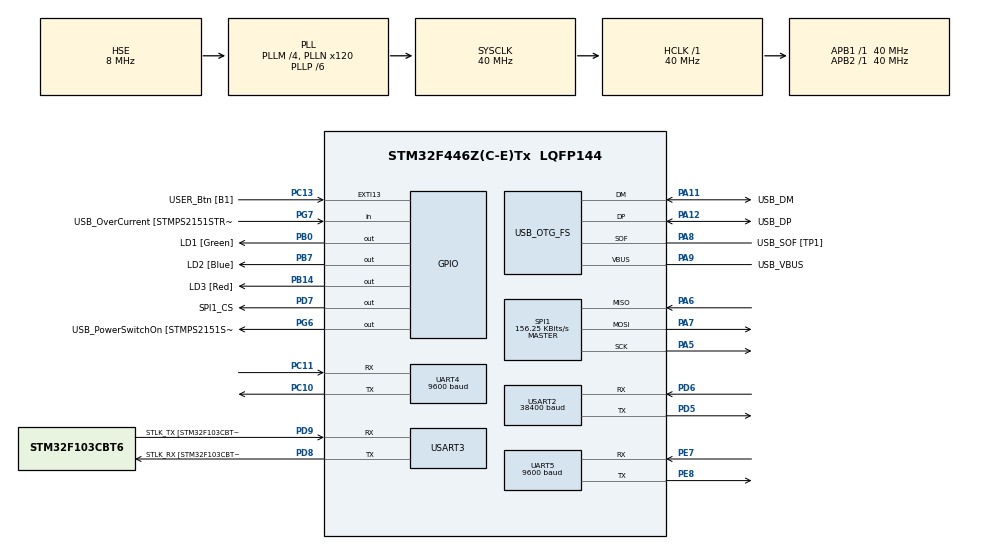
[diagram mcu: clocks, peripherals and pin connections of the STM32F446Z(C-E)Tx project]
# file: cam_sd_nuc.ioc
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FATFS._USE_LFN=1
Mcu.Family=STM32F4
Mcu.Name=STM32F446Z(C-E)Tx
Mcu.Package=LQFP144
NVIC.PriorityGroup=NVIC_PRIORITYGROUP_4
PA10.GPIO_Label=USB_ID
PA10.Signal=USB_OTG_FS_ID
PA11.GPIO_Label=USB_DM
PA11.Mode=Device_Only
PA11.Signal=USB_OTG_FS_DM
PA12.GPIO_Label=USB_DP
PA12.Mode=Device_Only
PA12.Signal=USB_OTG_FS_DP
PA13.GPIO_Label=TMS
PA13.Mode=Serial_Wire
PA13.Signal=SYS_JTMS-SWDIO
PA14.GPIO_Label=TCK
PA14.Mode=Serial_Wire
PA14.Signal=SYS_JTCK-SWCLK
PA5.Mode=Full_Duplex_Master
PA5.Signal=SPI1_SCK
PA6.Mode=Full_Duplex_Master
PA6.Signal=SPI1_MISO
PA7.Mode=Full_Duplex_Master
PA7.Signal=SPI1_MOSI
PA8.GPIO_Label=USB_SOF [TP1]
PA8.Mode=Activate_SOF_FS
PA8.Signal=USB_OTG_FS_SOF
PA9.GPIO_Label=USB_VBUS
PA9.Mode=Activate_VBUS
PA9.Signal=USB_OTG_FS_VBUS
PB0.GPIO_Label=LD1 [Green]
PB0.Signal=GPIO_Output
PB14.GPIO_Label=LD3 [Red]
PB14.Signal=GPIO_Output
PB7.GPIO_Label=LD2 [Blue]
PB7.Signal=GPIO_Output
PC10.Mode=Asynchronous
PC10.Signal=UART4_TX
PC11.Mode=Asynchronous
PC11.Signal=UART4_RX
PC13.GPIO_Label=USER_Btn [B1]
PC13.Signal=GPXTI13
PC14-OSC32_IN.Mode=LSE-External-Oscillator
PC14-OSC32_IN.Signal=RCC_OSC32_IN
PC15-OSC32_OUT.Mode=LSE-External-Oscillator
PC15-OSC32_OUT.Signal=RCC_OSC32_OUT
PD5.Mode=Asynchronous
PD5.Signal=USART2_TX
PD6.Mode=Asynchronous
PD6.Signal=USART2_RX
PD7.GPIO_Label=SPI1_CS
PD7.Signal=GPIO_Output
PD8.GPIO_Label=STLK_RX [STM32F103CBT6_PA3]
PD8.Mode=Asynchronous
PD8.Signal=USART3_TX
PD9.GPIO_Label=STLK_TX [STM32F103CBT6_PA2]
PD9.Mode=Asynchronous
PD9.Signal=USART3_RX
PE7.Mode=Asynchronous
PE7.Signal=UART5_RX
PE8.Mode=Asynchronous
PE8.Signal=UART5_TX
PG6.GPIO_Label=USB_PowerSwitchOn [STMPS2151STR_EN]
PG6.Signal=GPIO_Output
PG7.GPIO_Label=USB_OverCurrent [STMPS2151STR_FAULT]
PG7.Signal=GPIO_Input
PH0-OSC_IN.GPIO_Label=MCO [STM32F103CBT6_PA8]
PH0-OSC_IN.Mode=HSE-External-Clock-Source
PH0-OSC_IN.Signal=RCC_OSC_IN
PH1-OSC_OUT.Mode=HSE-External-Clock-Source
PH1-OSC_OUT.Signal=RCC_OSC_OUT
ProjectManager.HeapSize=0x200
ProjectManager.StackSize=0x400
ProjectManager.TargetToolchain=STM32CubeIDE
RCC.48MHZClocksFreq_Value=24000000
RCC.AHBFreq_Value=40000000
RCC.APB1Freq_Value=40000000
RCC.APB1TimFreq_Value=40000000
RCC.APB2Freq_Value=40000000
RCC.APB2TimFreq_Value=40000000
RCC.CortexFreq_Value=40000000
RCC.HCLKFreq_Value=40000000
RCC.HSE_VALUE=8000000
RCC.HSI_VALUE=16000000
RCC.PLLM=4
RCC.PLLMUL=RCC_PLL_MUL9
RCC.PLLN=120
RCC.PLLP=RCC_PLLP_DIV6
RCC.PLLQ=5
RCC.PRESCALERUSB=RCC_USBCLKSOURCE_PLL_DIV1_5
RCC.SYSCLKFreq_VALUE=40000000
RCC.SYSCLKSource=RCC_SYSCLKSOURCE_PLLCLK
RCC.SYSCLKSourceVirtual=RCC_SYSCLKSOURCE_PLLCLK
RCC.USBFreq_Value=48000000
RCC.VCOOutputFreq_Value=240000000
SPI1.BaudRatePrescaler=SPI_BAUDRATEPRESCALER_256
SPI1.CalculateBaudRate=156.25 KBits/s
SPI1.Direction=SPI_DIRECTION_2LINES
SPI1.Mode=SPI_MODE_MASTER
SPI1.VirtualType=VM_MASTER
UART4.BaudRate=9600
UART4.VirtualMode=Asynchronous
UART5.BaudRate=9600
UART5.VirtualMode=Asynchronous
USART2.BaudRate=38400
USART2.VirtualMode=VM_ASYNC
USART3.VirtualMode=VM_ASYNC
USB_OTG_FS.VirtualMode=Device_Only
VP_FATFS_VS_Generic.Mode=User_defined
board=NUCLEO-F446ZE

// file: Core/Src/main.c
/* USER CODE BEGIN Header */
/**
  ******************************************************************************
  * @file           : main.c
  * @brief          : Main program body
  ******************************************************************************
  * @attention
  *
  * Copyright (c) 2025 STMicroelectronics.
  * All rights reserved.
  *
  * This software is licensed under terms that can be found in the LICENSE file
  * in the root directory of this software component.
  * If no LICENSE file comes with this software, it is provided AS-IS.
  *
  ******************************************************************************
  */
/* USER CODE END Header */
#include "main.h"
#include "fatfs.h"

/* USER CODE BEGIN Includes */

#include "vc0706_hal.h"
#include <stdio.h>
#include <string.h>
#include <stdarg.h>
#include <stdbool.h>
#include <stdint.h>

/* USER CODE END Includes */

/* USER CODE BEGIN PD */

#define VC0706_READ_CHUNK 64

#define LINK_UART_HANDLE  huart5          // <--- change to your UART handle (huart3, huart7, etc.)
#define SEND_FILENAME     "im_pru.JPG"

/* ------------------------ */

#define CHUNK          256u              // multiple of 512 recommended
#define SOF0           0x55
#define SOF1           0xAA
#define ACK            0x06
#define NAK            0x15
#define UART_TMO_MS    2500
#define MAX_RETRY      8

#define UART_TX_TMO_MS  2500

static vc0706_t cam;
extern UART_HandleTypeDef LINK_UART_HANDLE;

void myprintf(const char *fmt, ...);
static int generar_nombre_unico(char *out, size_t out_sz,char *out2);
char filename[40] = {};

char filename_enviar[40] = {};

uint8_t cab6;

/* USER CODE END PD */

SPI_HandleTypeDef hspi1;

UART_HandleTypeDef huart4;
UART_HandleTypeDef huart5;
UART_HandleTypeDef huart2;
UART_HandleTypeDef huart3;

PCD_HandleTypeDef hpcd_USB_OTG_FS;

/* USER CODE BEGIN PV */

static inline void uart_flush_rx_polling(UART_HandleTypeDef *huart)
{
    uint8_t dump;
    while (HAL_UART_Receive(huart, &dump, 1, 0) == HAL_OK) {
        /* discard */
    }
    /* If an overrun happened, clear it so RX keeps working */
    __HAL_UART_CLEAR_OREFLAG(huart);
}

int camera_init(void) {
    myprintf("\r\ninicializando camara...\r\n");

    // Bind to USART2 at 38400 (will HAL_UART_Init with that baud if needed)
    if (!vc0706_begin(&cam, &huart2, 38400)) {
        myprintf("no se detecto la camara o error de comunicacion\r\n");
        return -1;
    }

    // Version probe (good connectivity test)
    char *ver = vc0706_get_version(&cam);
    if (!ver) {
        myprintf("get_version fallo\r\n");
        return -2;
    }
    // The buffer is NUL-terminated; print a trimmed line
    myprintf("version: %s\r\n", ver);

    // Set resolution 640x480 (same as cam.setImageSize(VC0706_640x480))
    if (!vc0706_set_image_size(&cam, VC0706_640x480)) {
        myprintf("no se pudo fijar resolucion 640x480\r\n");
        return -3;
    }
    // Read back to confirm
    uint8_t sz = vc0706_get_image_size(&cam);
    if (sz != VC0706_640x480) {
        myprintf("aviso: resolucion leida = 0x%02X (esperado 0x00)\r\n", sz);
    } else {
        myprintf("resolucion establecida a 640x480\r\n");
    }

    // (Opcional) ajustar compresion JPEG: 0x00 (max calidad) .. 0xFF (max compresion)
    // (void)vc0706_set_compression(&cam, 0x36);

    myprintf("camara lista\r\n");
    return 0;
}

void myprintf(const char *fmt, ...) {
  static char buffer[256];
  va_list args;
  va_start(args, fmt);
  vsnprintf(buffer, sizeof(buffer), fmt, args);
  va_end(args);

  int len = strlen(buffer);
  HAL_UART_Transmit(&huart4, (uint8_t*)buffer, len, -1);

}

/* ===== CRC16-CCITT (poly 0x1021, init 0xFFFF) ===== */
static uint16_t crc16_ccitt(const uint8_t *data, uint32_t len)
{
    uint16_t crc = 0xFFFF;
    for (uint32_t i = 0; i < len; i++) {
        crc ^= ((uint16_t)data[i]) << 8;
        for (uint8_t b = 0; b < 8; b++) {
            crc = (crc & 0x8000) ? (uint16_t)((crc << 1) ^ 0x1021) : (uint16_t)(crc << 1);
        }
    }
    return crc;
}

/* ===== UART helpers (blocking) ===== */
static int uart_send(const void *p, uint16_t n)
{
    return (HAL_UART_Transmit(&LINK_UART_HANDLE, (uint8_t*)p, n, UART_TX_TMO_MS) == HAL_OK) ? 0 : -1;
}
static int uart_recv(void *p, uint16_t n, uint32_t tmo)
{
    return (HAL_UART_Receive(&LINK_UART_HANDLE, (uint8_t*)p, n, tmo) == HAL_OK) ? 0 : -1;
}

/* ===== Protocol: header + framed data ===== */
static int send_header(uint32_t fsz)
{
    uint8_t hdr[6] = { 'S','Z', (uint8_t)(fsz), (uint8_t)(fsz>>8), (uint8_t)(fsz>>16), (uint8_t)(fsz>>24) };

    if (uart_send(hdr, sizeof(hdr)) != 0) return -1;
    myprintf("[TX] uart_send end\r\n");

    //PRINTEO ENVIO
    HAL_UART_Transmit(&huart3,hdr,sizeof(hdr),200);
    //HAL_Delay(500);

    uint8_t ack = 0;
    if (uart_recv(&ack, 1, UART_TMO_MS) != 0) return -2;
    //myprintf("uart ack = %d \r\n; ");
    myprintf("[TX] header_ok\r\n");
    myprintf("El ACK es 0x%02X\r\n", (unsigned)ack);   // Hex con cero a la izquierda
    return (ack == ACK) ? 0 : -3;
}

static int send_frame(uint16_t seq, const uint8_t *data, uint16_t len)
{
	//myprintf("Enviando x4 \r\n");
	HAL_Delay(100);
    static uint8_t tx[CHUNK + 8]; // SOF(2) + seq(2) + len(2) + payload + crc(2)
    tx[0] = SOF0; tx[1] = SOF1;
    tx[2] = (uint8_t)(seq); tx[3] = (uint8_t)(seq >> 8);
    tx[4] = (uint8_t)(len); tx[5] = (uint8_t)(len >> 8);
    memcpy(&tx[6], data, len);
    uint16_t crc = crc16_ccitt(data, len);
    tx[6 + len]     = (uint8_t)(crc);
    tx[6 + len + 1] = (uint8_t)(crc >> 8);

    for (int attempt = 0; attempt < MAX_RETRY; attempt++) {
        if (uart_send(tx, (uint16_t)(len + 8)) != 0) return -10;

        //PRINTEO ENVIO
        HAL_UART_Transmit(&huart3,tx,sizeof(tx),200);
        //HAL_Delay(500);

        uint8_t dump;
        while (HAL_UART_Receive(&LINK_UART_HANDLE, &dump, 1, 0) == HAL_OK) {
            /* discard */
        }

        uint8_t resp[3];
        if (uart_recv(resp, 3, UART_TMO_MS) == 0 && resp[0] == ACK) {
            uint16_t seq_echo = (uint16_t)resp[1] | ((uint16_t)resp[2] << 8);
            if (seq_echo == seq) return 0;
        }
        // retry on timeout or NAK
    }
    return -11;
}

/* ===== Public API: send a file ===== */
int send_file_over_uart(const char *path)
{
    FRESULT fr;
    FATFS fs;
    FIL   f;
    UINT  br;
    static uint8_t buf[CHUNK];

    // Ensure FatFs is wired to SPI SD in your project
    MX_FATFS_Init();
    fr = f_mount(&fs, "", 1);
    if (fr != FR_OK) return -100;

    fr = f_open(&f, path, FA_READ | FA_OPEN_EXISTING);
    if (fr != FR_OK) { f_mount(NULL, "", 0); return -101; }

    uint32_t fsz = (uint32_t)f_size(&f);
    //myprintf("[TX] uart_send(len=%u) begin\r\n", (unsigned)(br + 8));
    if (send_header(fsz) != 0) { f_close(&f); f_mount(NULL, "", 0); return -102; }

    uint16_t seq = 0;
    uint32_t sent = 0;
    myprintf("Enviando x2 \r\n");

    while (sent < fsz) {
    	//myprintf("Enviando x3 \r\n");
    	HAL_Delay(100);

        UINT need = (fsz - sent > CHUNK) ? CHUNK : (UINT)(fsz - sent);
        fr = f_read(&f, buf, need, &br);
        //myprintf("[TX] f_read fr=%d br=%u need=%u\r\n", (int)fr, (unsigned)br, (unsigned)need);
        //if (fr != FR_OK || br == 0) { myprintf("[TX] f_read_fail\r\n"); return -105; }
        if (fr != FR_OK) { f_close(&f); f_mount(NULL, "", 0); return -103; }
        if (br == 0) break;

        //myprintf("[TX] send_frame seq=%u len=%u\r\n", (unsigned)seq, (unsigned)br);
        if (send_frame(seq, buf, (uint16_t)br) != 0) { f_close(&f); f_mount(NULL, "", 0); return -104; }
        sent += br;
        seq++;
    }

    f_close(&f);
    f_mount(NULL, "", 0);
    return 0;
}

/* ===== Button-driven send (polling) =====
 * Requires USER button as input (e.g., Nucleo B1 on PC13).
 */
static volatile bool g_sending  = false;
static bool btn_prev = true; // idle-high on many Nucleo boards

static bool button_pressed_edge(void)
{
    bool now = (HAL_GPIO_ReadPin(USER_Btn_GPIO_Port, USER_Btn_Pin) == GPIO_PIN_RESET);
    bool pressed = (btn_prev && !now); // high -> low
    btn_prev = now;
    return pressed;
}

/* ================== END F446ZE SENDER ================== */

/* fixed date like your sketch; swap for RTC later */
static void fecha_yyyymmdd(char *dst) { strcpy(dst, "20250101"); }

/* IMG_YYYYMMDD_NNNNNN.JPG with FatFS existence check */
/*
static int generar_nombre_unico(char *out, size_t out_sz) {
    if (!out || out_sz < 32) return -1;
    char ymd[9]; fecha_yyyymmdd(ymd);
    FILINFO fno;
    for (unsigned i = 0; i < 1000000U; i++) {
        int n = snprintf(out, out_sz, "IMG_%s_%06u.JPG", ymd, i);
        if (n <= 0 || (size_t)n >= out_sz) return -2;
        FRESULT fr = f_stat(out, &fno);
        if (fr == FR_NO_FILE) return 0;      // available
        if (fr != FR_OK && fr != FR_EXIST) return -3;
    }
    return -4;
}
*/

static int generar_nombre_unico(char *out, size_t out_sz,char *out2) {
    if (!out || out_sz < 32) return -1;
    char ymd[9]; fecha_yyyymmdd(ymd);
    FATFS fs; FIL file; FRESULT fr; UINT bw;
    //myprintf("inicializacion\r\n");
    MX_FATFS_Init();
    fr = f_mount(&fs, "", 1);
    if (fr != FR_OK) { return -100; }
    FILINFO fno;
    for (unsigned i = 0; i < 1000000U; i++) {
        int n = snprintf(out, out_sz, "IMG_%s_%06u.JPG", ymd, i);
        //myprintf("n es %s ...\r\n", out);
        if (n <= 0 || (size_t)n >= out_sz) return -2;
        //myprintf("primer if \r\n");
        FRESULT fr = f_stat(out, &fno);
        //myprintf("fr es %d ...\r\n", fr);
        //myprintf("n es %s ... x2\r\n", out);
        //myprintf("nuevo es %s ... \r\n", out2);
        if (fr == FR_NO_FILE){
        	memcpy(out2, out,out_sz);
        	//myprintf("nuevo es %s ... \r\n", out2);
        	//myprintf("TODO BIEN ... \r\n");
        	memset(out, 0, out_sz);
        	return 0;
        }
        //myprintf("segundo if \r\n");// available
        if (fr != FR_OK && fr != FR_EXIST) return -3;
        //myprintf("tercero if \r\n");

    }
    return -4;
}

/*
int capturar_imagen_a_sd_manual(vc0706_t *cam) {
    if (!cam) return -1;

    FATFS fs; FIL file; FRESULT fr; UINT bw;

    MX_FATFS_Init();
    fr = f_mount(&fs, "", 1);
    if (fr != FR_OK) { myprintf("f_mount=%d\r\n", fr); return -100; }

    if (!vc0706_take_picture(cam)) {
        myprintf("take_picture FAIL\r\n");
        f_mount(NULL, "", 0);
        return -200;
    }

    uint32_t jpglen = vc0706_frame_length(cam);
    if (jpglen == 0) {
        myprintf("frame_length=0\r\n");
        (void)vc0706_resume_video(cam);
        f_mount(NULL, "", 0);
        return -201;
    }
    myprintf("size=%lu bytes\r\n", (unsigned long)jpglen);

    //char filename[40];
    int rc = generar_nombre_unico(filename, sizeof(filename));
    if (rc != 0) {
        myprintf("name err=%d\r\n", rc);
        (void)vc0706_resume_video(cam);
        f_mount(NULL, "", 0);
        return -202;
    }

    fr = f_open(&file, filename, FA_WRITE | FA_CREATE_NEW);
    if (fr != FR_OK) {
        myprintf("f_open=%d\r\n", fr);
        (void)vc0706_resume_video(cam);
        f_mount(NULL, "", 0);
        return -203;
    }
    myprintf("writing %s ...\r\n", filename);

    uint32_t written = 0;
    int payload_offset = -1; // will be 0 or 5 after first chunk

    while (written < jpglen) {
        uint32_t remain = jpglen - written;
        uint8_t n = (remain < VC0706_READ_CHUNK ) ? (uint8_t)remain : (uint8_t)VC0706_READ_CHUNK ;
        if (n > 240) n = 240;  // safety: VC0706 count is uint8_t

        uint8_t *buf = vc0706_read_picture(cam, n, 500);   // returns [5-byte header] + n data

        if (!buf) {
            myprintf("read_picture timeout/null\r\n");
            f_close(&file);
            (void)vc0706_resume_video(cam);
            f_mount(NULL, "", 0);
            return -204;
        }
        if (payload_offset < 0) {
            if (buf[0] == 0xFF && buf[1] == 0xD8) {
                // Looks like JPEG SOI at start => payload already at buf
                payload_offset = 0;
            } else if (buf[0] == 0x76 && buf[2] == 0x32) {
                // 0x76, serial, 0x32 (= READ_FBUF reply) => header present
                payload_offset = 5;
            } else {
                // fallback: if looks like header length >= 5, assume 5; else assume 0
                payload_offset = 5;
            }
        }

        fr = f_write(&file, buf + payload_offset, n, &bw);
        if (fr != FR_OK || bw != n) {
            myprintf("f_write err=%d bw=%u n=%u\r\n", fr, (unsigned)bw, (unsigned)n);
            f_close(&file);
            (void)vc0706_resume_video(cam);
            f_mount(NULL, "", 0);
            return -205;
        }

        written += n;
        if ((written % (10*1024)) < VC0706_READ_CHUNK ) myprintf(".");
    }
    myprintf("\r\n");

    f_sync(&file);
    f_close(&file);
    (void)vc0706_resume_video(cam);
    f_mount(NULL, "", 0);

    myprintf("done: %s (%lu bytes)\r\n", filename, (unsigned long)written);
    return 0;
}
*/

int capturar_imagen_a_sd_manual_filename(vc0706_t *cam,const char *filename) {
    if (!cam) return -1;

    FATFS fs; FIL file; FRESULT fr; UINT bw;
    //myprintf("imagen sd filename\r\n");
    MX_FATFS_Init();
    fr = f_mount(&fs, "", 1);
    if (fr != FR_OK) { return -100; }

    if (!vc0706_take_picture(cam)) {
        //myprintf("take_picture FAIL\r\n");
        f_mount(NULL, "", 0);
        return -200;
    }

    uint32_t jpglen = vc0706_frame_length(cam);
    if (jpglen == 0) {
        //myprintf("frame_length=0\r\n");
        (void)vc0706_resume_video(cam);
        f_mount(NULL, "", 0);
        return -201;
    }
    //myprintf("size=%lu bytes\r\n", (unsigned long)jpglen);

// FILENAME CHAR FILENAME
    /*
    int rc = generar_nombre_unico(filename, sizeof(filename));
    if (rc != 0) {
        //myprintf("name err=%d\r\n", rc);
        (void)vc0706_resume_video(cam);
        f_mount(NULL, "", 0);
        return -202;
    }
    */

    fr = f_open(&file, filename, FA_WRITE | FA_CREATE_NEW);
    if (fr != FR_OK) {
        //myprintf("f_open=%d\r\n", fr);
        (void)vc0706_resume_video(cam);
        f_mount(NULL, "", 0);
        return -203;
    }
    //myprintf("writing %s ...\r\n", filename);

    uint32_t written = 0;
    int payload_offset = -1; // will be 0 or 5 after first chunk

    while (written < jpglen) {
    	//HAL_GPIO_TogglePin(WDG_GPIO_Port, WDG_Pin);
        uint32_t remain = jpglen - written;
        uint8_t n = (remain < VC0706_READ_CHUNK ) ? (uint8_t)remain : (uint8_t)VC0706_READ_CHUNK ;
        if (n > 240) n = 240;  // safety: VC0706 count is uint8_t

        uint8_t *buf = vc0706_read_picture(cam, n, 500);   // returns [5-byte header] + n data

        if (!buf) {
            //myprintf("read_picture timeout/null\r\n");
            f_close(&file);
            (void)vc0706_resume_video(cam);
            f_mount(NULL, "", 0);
            return -204;
        }
        if (payload_offset < 0) {
            if (buf[0] == 0xFF && buf[1] == 0xD8) {
                // Looks like JPEG SOI at start => payload already at buf
                payload_offset = 0;
            } else if (buf[0] == 0x76 && buf[2] == 0x32) {
                // 0x76, serial, 0x32 (= READ_FBUF reply) => header present
                payload_offset = 5;
            } else {
                // fallback: if looks like header length >= 5, assume 5; else assume 0
                payload_offset = 5;
            }
        }

        /* write ONLY JPEG payload; skip 5-byte VC0706 header */
        fr = f_write(&file, buf + payload_offset, n, &bw);
        if (fr != FR_OK || bw != n) {
            //myprintf("f_write err=%d bw=%u n=%u\r\n", fr, (unsigned)bw, (unsigned)n);
            f_close(&file);
            (void)vc0706_resume_video(cam);
            f_mount(NULL, "", 0);
            return -205;
        }

        written += n;
        //if ((written % (10*1024)) < VC0706_READ_CHUNK ) myprintf(".");
    }
    //myprintf("\r\n");

    f_sync(&file);
    f_close(&file);
    //myprintf("termine\r\n");
    (void)vc0706_resume_video(cam);
    f_mount(NULL, "", 0);

    //myprintf("done: %s (%lu bytes)\r\n", filename, (unsigned long)written);
    return 0;
}
/*

void user_loop_sender_sd(void)
{
    if (!g_sending && button_pressed_edge()) {
    	myprintf("Enviando \r\n");
        g_sending = true;
        (void)send_file_over_uart(SEND_FILENAME);
        g_sending = false;
    }
}
*/

/*

void user_loop_sender_uart(int status,bool status16, bool status32)
{
    //if (!g_sending && button_pressed_edge()) {
    if (status==1 && status16==true && status32==true) {
    	myprintf("Enviando \r\n");
        g_sending = true;
        (void)send_file_over_uart(SEND_FILENAME);
        g_sending = false;
    }else{
    	myprintf("Comando mal recibido \n");
    }
}
*/
/*

void user_loop_sender_cam_sd(void)
{
    if (!g_sending && button_pressed_edge()) {
        g_sending = true;

        char filename[40];
        if (generar_nombre_unico(filename, sizeof(filename)) != 0) {
            myprintf("name gen failed\r\n");
            g_sending = false;
            return;
        }

        myprintf("Capturando y guardando: %s\r\n", filename);
        int rc = capturar_imagen_a_sd_manual(&cam);
        if (rc != 0) {
            myprintf("capture/save failed rc=%d\r\n", rc);
            g_sending = false;
            return;
        }

        myprintf("Enviando por UART: %s\r\n", filename);

        HAL_Delay(500);
        (void)send_file_over_uart(filename);
        g_sending = false;

    }
}
*/

void envia_defrente(void)
{

	//HAL_GPIO_TogglePin(WDG_GPIO_Port, WDG_Pin);

	//myprintf("El filename antes de es %s ... \r\n", filename);
	//myprintf("estoy envia defrente\r\n");
	if (generar_nombre_unico(filename, sizeof(filename), filename_enviar) != 0) {
		//myprintf("name gen failed\r\n");
		return;
	}
	//myprintf("Lo que entra es %s ... \r\n", filename_enviar);
	//myprintf("El filename es %s ... \r\n", filename);
	//myprintf("Capturando y guardando: %s\r\n", filename);
	//capturar_imagen_a_sd_manual_filename
	int rc = capturar_imagen_a_sd_manual_filename(&cam, filename_enviar);
	if (rc != 0) {
		//myprintf("capture/save failed rc=%d\r\n", rc);
		return;
	}

	//HAL_Delay(2000);
	//(void)send_file_over_uart(filename);

}

/* **************************************** Programacion de comandos ********************************************/

/************************************************
 Declaracion de cabeceras, payload y variables
 ************************************************/

uint8_t TA=0x05; /*TA=TargetAddress*/
uint8_t SA=0x88; /*SA=SourceAddress*/

/*PPID=PayloadProtocolID
(Define las funciones
 Toma de foto camara 1: id=0x01
 Toma de foto camara 2: id=0x02)*/
uint8_t PPID;

/*PS=PayloadSize (Tamaño del payload)
 PayloadComando= 1-2bytes
 PayloadData= 1-255bytes*/
uint8_t PS;

/*Payload*/
uint8_t payload_total[255];
uint8_t payload_envio[]={};

/*CRC32*/
uint32_t CRC32;

/*Variable*/
uint8_t count;
uint8_t val;

/**************************************
 * Generacion PS (payload size)
 ***************************************/

uint8_t countPay(uint8_t* payload_envio){
	/*Define la cantidad de bytes (size) del payload*/
	  for (int i=0; i<255; i++){
		  val = payload_envio[i] & 0b11111111;
		  if (val != 0x00){
			  count=count+1;
		  }
	  }

	  /*cumple con darnos la cantidad de bytes(size) del payload*/
	  PS=count;
	  return PS;
}

/****************************************
 * Funciones generan CRC16 y CRC32
 ***************************************/

bool gener_crc16(uint8_t *cabecera,uint8_t size_cabecera,uint8_t *cab){

		    uint16_t G_X = 0x1021; // Polynomial generator
		    uint16_t CRC16 = 0xFFFF;
		    uint8_t InvArreglo[4] = {};
		    uint8_t Temp;
		    uint8_t InvBits[4] ={}; //Arreglo de bits invertidos de la cabecera  (LSB first)
		    uint8_t Fin=0x00;

		    //Se invierten los elementos del array
		    for(int i=0; i<size_cabecera; i++){
		    	InvArreglo[i]=cabecera[size_cabecera-i-1];
		    }

		    //Se invierten los bits de los elementos del array
		    for(int j=0; j<size_cabecera;j++){
		    	for(int i=0; i<8; i++){
		    		Temp=InvArreglo[j]&(0x80);
		    		//InvBits[0]=InvArreglo[1];
		    		//HAL_UART_Transmit(&huart2,InvBits,sizeof(InvBits),100);// Sending in normal mode
		    		//HAL_Delay(1000);
		    		if(Temp!=0x00){
		    			Fin=(Fin>>1);
		    			Fin=Fin|(0x80);
		    			InvArreglo[j]=(InvArreglo[j]<<1);
		    			// InvBits[0]=Fin;
		    			// HAL_UART_Transmit(&huart2,InvBits,sizeof(InvBits),100);// Sending in normal mode
		    			// HAL_Delay(1000);
		    		}else{
		    			Fin=(Fin>>1);
		    			InvArreglo[j]=(InvArreglo[j]<<1);
		    			//InvBits[0]=InvArreglo[0];
		    			//HAL_UART_Transmit(&huart2,InvBits,sizeof(InvBits),100);// Sending in normal mode
		    			//HAL_Delay(1000);
		    		}
		    	}
		    	InvBits[j]=Fin;
		    	Fin=0x00;
		    }

		    //Algoritmo para la generación del CRC16 de la cabecera invertida
		    for(int i=0; i<sizeof(InvBits)/sizeof(InvBits[0]); i++){
		    	  CRC16 ^= (uint16_t)(InvBits[i]<<8);

		    	  for (int i=0; i<8; i++){
		    		  if ((CRC16 & 0x8000) != 0){
		    			  CRC16 = (uint16_t)((CRC16 <<1)^G_X);
		    		  }else{
		    			  CRC16 <<=1;
		    		  }
		    	  }
		    }

		    // El CRC16 de 0x8805 = 0xC294
		    // El CRC16 de 0x88050101 = 0x901B
		    // El CRC16 de 0x8080A011 (0x88050101 invertido) = 0x7DCC
		    uint8_t CRC16_0 = (uint8_t)(CRC16 & 0x00FF);
		    uint8_t CRC16_1 = (uint8_t)((CRC16 >> 8)& 0x00FF);

		    bool status_crc16;
		    if(CRC16_0==cab[4] && CRC16_1==cab[5]){
		  	  status_crc16= true;
		  	  myprintf("El CRC16 se recibio correctamente ... \n");
		  	  myprintf("%02X %02X\n",cab[4],cab[5]);
		  	  return status_crc16;
		    }else{
		  	  status_crc16= false;
		  	  myprintf("El CRC16 no esta correcto ... \n");
		  	  myprintf("%02X %02X\n",cab[4],cab[5]);
		  	  return status_crc16;
		    }
}

bool gener_crc32(uint8_t *payload_cabecera,uint8_t size_cabecera,uint8_t *cab){

			//Algoritmo para la generación del CRC32 de la cabecera invertida
		    uint32_t G_Y = 0x04C11DB7; // Polynomial generator
		    uint32_t CRC32 = 0xFFFFFFFF;
		    uint8_t InvArreglo2[7] = {};
		    uint8_t Temp2;
		    uint8_t Fin2=0x00;
		    uint8_t InvBits2[7] ={};

		    //Se invierten los elementos del array
		    //Frame actual: 0x01 0xCC 0x7D 0x01 0x01 0x05 0x88
		    for(int i=0; i<size_cabecera; i++){
		    	InvArreglo2[i]=payload_cabecera[size_cabecera-i-1];
		    }

		    //Se invierten los bits de los elementos del array
		    //Frame LBS: 0x80 0x33 0xBE 0x80 0x80 0xA0 0x11
		    for(int j=0; j<size_cabecera;j++){
		    	for(int i=0; i<8; i++){
		    		Temp2=InvArreglo2[j]&(0x80);
		    		//InvBits3[0]=InvArreglo2[j];
		    		//HAL_UART_Transmit(&huart2,InvBits3,sizeof(InvBits3),100);// Sending in normal mode
		    		//HAL_Delay(1000);
		    		if(Temp2!=0x00){
		    			Fin2=(Fin2>>1);
		    			Fin2=Fin2|(0x80);
		    			InvArreglo2[j]=(InvArreglo2[j]<<1);
		    			//InvBits3[0]=Fin2;
		    			//HAL_UART_Transmit(&huart2,InvBits3,sizeof(InvBits3),100);// Sending in normal mode
		    			//HAL_Delay(1000);
		    		}else{
		    			Fin2=(Fin2>>1);
		    			InvArreglo2[j]=(InvArreglo2[j]<<1);
		    			//InvBits[0]=InvArreglo[0];
		    			//HAL_UART_Transmit(&huart2,InvBits,sizeof(InvBits),100);// Sending in normal mode
		    			//HAL_Delay(1000);
		    		}
		    	}
		    	InvBits2[j]=Fin2;
		    	Fin2=0x00;
		    }

		    for(int j=0; j<sizeof(InvBits2)/sizeof(InvBits2[0]); j++){
		    	CRC32 ^= (uint32_t)(InvBits2[j]<<24);

		    	  for (int j=0; j<8; j++){
		    		  if ((CRC32 & 0x80000000) != 0){
		    			  CRC32 = (uint32_t)((CRC32 <<1)^G_Y);
		    		  }else{
		    			  CRC32 <<=1;
		    		  }
		    	  }
		    }

		    uint8_t CRC32_byte3 = (uint8_t)((CRC32 >> 24) & 0xFF);//MSB
		    uint8_t CRC32_byte2 = (uint8_t)((CRC32 >> 16) & 0xFF);
		    uint8_t CRC32_byte1 = (uint8_t)((CRC32 >> 8) & 0xFF);
		    uint8_t CRC32_byte0 = (uint8_t)(CRC32 & 0xFF);//LSB

		    bool status_crc32;

		    myprintf(" los crc32 son %02X %02X %02X %02X\n",CRC32_byte0,CRC32_byte1,CRC32_byte2,CRC32_byte3);
		    if(CRC32_byte0==cab[7] && CRC32_byte1==cab[8] && CRC32_byte2==cab[9] && CRC32_byte3==cab[10]){
		  	  status_crc32= true;
		  	  myprintf("El CRC32 se recibio correctamente ... \n");
		  	  myprintf("%02X %02X %02X %02X\n",cab[7],cab[8],cab[9],cab[10]);
		  	  return status_crc32;
		    }else{
		  	  status_crc32= false;
		  	  myprintf("El CRC32 no esta correcto ... \n");
		  	  myprintf("%02X ..\n",cab[7]);
		  	  myprintf("%02X %02X %02X %02X\n",cab[7],cab[8],cab[9],cab[10]);
		  	  return status_crc32;
		    }
}

/*Funcion generadora del CRC16 */
uint16_t gener_crc16_rx (uint8_t TA,uint8_t SA,uint8_t PPID,uint8_t PS){

	 /***************************************************
	  * Definicion de variables y algoritmo para el CRC16
	  * Con inversion de bits
	  * CRC-CCITT-BR (bit reverse): LSB first
	  * CRC16, G(x)=0x1021 (algoritmo)
	  * CRC initial: 0XFFFF
	  * Cabecera inicial: 0x88 0x05 0x01 0x01
	  * Cabecera invertida: 0x80 0x80 0xA0 0x11
	  ***************************************************/
	  uint16_t G_X = 0x1021; // Polynomial generator
	  uint16_t CRC16 = 0xFFFF;
	  uint8_t arreglo[4] = {TA,SA,PPID,PS};//Se aumento PPID,PS
	  uint8_t InvArreglo[4] = {};
	  uint8_t InvBits[4] ={}; //Arreglo de bits invertidos de la cabecera  (LSB first)
	  uint8_t Temp;
	  uint8_t Fin=0x00;
	  uint8_t n = sizeof(arreglo)/sizeof(arreglo[0]);

	  //Se invierten los elementos del array
	  //Cabecera actual: 0x01 0x01 0x05 0x88
	  for(int i=0; i<n; i++){
		  InvArreglo[i]=arreglo[n-i-1];
	  }

	  //InvArreglo[0]=0x35;

	  //Se invierten los bits de los elementos del array
	  //Cabecera LBS: 0x80 0x80 0xA0 0x11
	  for(int j=0; j<n;j++){
		  for(int i=0; i<8; i++){
			  Temp=InvArreglo[j]&(0x80);
			  //InvBits[0]=InvArreglo[1];
			  //HAL_UART_Transmit(&huart2,InvBits,sizeof(InvBits),100);// Sending in normal mode
			  //HAL_Delay(1000);
			  if(Temp!=0x00){
				  Fin=(Fin>>1);
				  Fin=Fin|(0x80);
				  InvArreglo[j]=(InvArreglo[j]<<1);
				  // InvBits[0]=Fin;
				  // HAL_UART_Transmit(&huart2,InvBits,sizeof(InvBits),100);// Sending in normal mode
				  // HAL_Delay(1000);
			  }else{
				  Fin=(Fin>>1);
				  InvArreglo[j]=(InvArreglo[j]<<1);
				  //InvBits[0]=InvArreglo[0];
				  //HAL_UART_Transmit(&huart2,InvBits,sizeof(InvBits),100);// Sending in normal mode
				  //HAL_Delay(1000);
			  }
		  }
		  InvBits[j]=Fin;
		  Fin=0x00;
	  }

	  //Algoritmo para la generación del CRC16 de la cabecera invertida
	  for(int i=0; i<sizeof(InvBits)/sizeof(InvBits[0]); i++){
	  	  CRC16 ^= (uint16_t)(InvBits[i]<<8);

	  	  for (int i=0; i<8; i++){
	  		  if ((CRC16 & 0x8000) != 0){
	  			  CRC16 = (uint16_t)((CRC16 <<1)^G_X);
	  		  }else{
	  			  CRC16 <<=1;
	  		  }
	  	  }
	   }

	  return CRC16;

	  // El CRC16 de 0x8805 = 0xC294
	  // El CRC16 de 0x88050101 = 0x901B
	  // El CRC16 de 0x8080A011 (0x88050101 invertido) = 0x7DCC

	  /*uint8_t CRC16_0 = (uint8_t)(CRC16 & 0x00FF);
	  uint8_t CRC16_1 = (uint8_t)((CRC16 >> 8)& 0x00FF);*/
}

/*Funcion generadora del CRC32*/
uint32_t gener_crc32_rx (uint8_t TA,uint8_t SA,uint8_t PPID,uint8_t PS,uint8_t CRC16_1, uint8_t CRC16_0,uint8_t payload_envio_0){

	/***************************************************
	   * Definicion de variables y algoritmo para el CRC32
	   * Con inversion de bits
	   * CRC-CRC32-ISO3309, LSB first
	   * CRC32, G(x)= 0x04C11DB7 (algoritmo)
	   * CRC initial: 0xFFFFFFFF
	   * Prueba inicial: 0x88 05 01 01 7D CC 01
	  **************************************************/
	  uint32_t G_Y = 0x04C11DB7; // Polynomial generator
	  uint32_t CRC32 = 0xFFFFFFFF;
	  uint8_t arreglo2[7]={TA,SA,PPID,PS,CRC16_1,CRC16_0,payload_envio_0};

	  uint8_t InvArreglo2[7] = {};
	  uint8_t InvBits2[7] ={}; //Arreglo de bits invertidos de la cabecera  (LSB first)
	  //uint8_t InvBits3[1]={};
	  uint8_t Temp2;
	  uint8_t Fin2=0x00;
	  uint8_t n2 = sizeof(arreglo2)/sizeof(arreglo2[0]);

	  //Se invierten los elementos del array
	  //Frame actual: 0x01 0xCC 0x7D 0x01 0x01 0x05 0x88
	  for(int i=0; i<n2; i++){
		  InvArreglo2[i]=arreglo2[n2-i-1];
	  }

	  //Se invierten los bits de los elementos del array
	  //Frame LBS: 0x80 0x33 0xBE 0x80 0x80 0xA0 0x11
	  for(int j=0; j<n2;j++){
	  	  for(int i=0; i<8; i++){
	  		  Temp2=InvArreglo2[j]&(0x80);
	    	   	  //InvBits3[0]=InvArreglo2[j];
	    	   	  //HAL_UART_Transmit(&huart2,InvBits3,sizeof(InvBits3),100);// Sending in normal mode
	    	   	  //HAL_Delay(1000);
	  		  if(Temp2!=0x00){
	  			  Fin2=(Fin2>>1);
	  			  Fin2=Fin2|(0x80);
	  			  InvArreglo2[j]=(InvArreglo2[j]<<1);
	    	   		  //InvBits3[0]=Fin2;
	    	   		  //HAL_UART_Transmit(&huart2,InvBits3,sizeof(InvBits3),100);// Sending in normal mode
	    	   		  //HAL_Delay(1000);
	  		  }else{
	  			  Fin2=(Fin2>>1);
	  			  InvArreglo2[j]=(InvArreglo2[j]<<1);
	  			  //InvBits[0]=InvArreglo[0];
	    	   		  //HAL_UART_Transmit(&huart2,InvBits,sizeof(InvBits),100);// Sending in normal mode
	    	   		  //HAL_Delay(1000);
	  		  }
	  	  }
	  	  InvBits2[j]=Fin2;
	  	  Fin2=0x00;
	  }

	  //InvBits3[0]=InvBits2[6];
	  //HAL_UART_Transmit(&huart2,InvBits3,sizeof(InvBits3),100);// Sending in normal mode
	  //HAL_Delay(1000);

	  //Algoritmo para la generación del CRC32 de la cabecera invertida
	  for(int j=0; j<sizeof(InvBits2)/sizeof(InvBits2[0]); j++){
	  	  CRC32 ^= (uint32_t)(InvBits2[j]<<24);

	  	  for (int j=0; j<8; j++){
	  		  if ((CRC32 & 0x80000000) != 0){
	  			  CRC32 = (uint32_t)((CRC32 <<1)^G_Y);
	  		  }else{
	  			  CRC32 <<=1;
	  		  }
	  	  }
	  }

	  return CRC32;

	  // El CRC32 de 0x88050101 = 0x486ABA9C
	  // El CRC32 de 0x8033BE8080A011 = 0x81C46721
	  /*uint8_t CRC32_byte3 = (uint8_t)((CRC32 >> 24) & 0xFF);//MSB
	  uint8_t CRC32_byte2 = (uint8_t)((CRC32 >> 16) & 0xFF);
	  uint8_t CRC32_byte1 = (uint8_t)((CRC32 >> 8) & 0xFF);
	  uint8_t CRC32_byte0 = (uint8_t)(CRC32 & 0xFF);//LSB*/
}

/*******************************************************************************************************************/

uint8_t recibir_comando(void){
	int a =1;
	uint8_t cab[11]={};
	uint8_t comando;
	while (a==1)
	{

		  //************************************* Recibiendo comando *************************************************************
		  //Armado de Protocolo |TA|SA|PPID|PS|CRC16_0|CRC16_1|Payload[0]|CRC32_0|CRC32_1|CRC32_2|CRC32_3|
		  //**********************************************************************************************************************

		    myprintf("Esperando comando ... \n");
		    HAL_StatusTypeDef status_rec = HAL_UART_Receive(&LINK_UART_HANDLE,cab,11,2500);

		    //myprintf("\r\n MicroSD inicializo BIEN \r\n\r\n");
		    //HAL_UART_Transmit(&huart4,cab,11,2500);
		    //myprintf("%02X ..\n",cab[7]);
		    myprintf("%02X %02X %02X %02X \n",cab[0],cab[1],cab[2],cab[3]);
		    myprintf("%02X %02X %02X %02X \n",cab[4],cab[5],cab[6],cab[7]);
		    myprintf("%02X %02X %02X  \n",cab[8],cab[9],cab[10]);
		    myprintf("%02X ..\n",cab[6]);
		    //Verificar si logro recibir el comando

		    //int status;

		    if(status_rec==HAL_OK){
		    	//status=1;
		    	myprintf("Comando Recibido \n");
		    	HAL_UART_Transmit(&huart4,cab,11,2500);
		    	//myprintf("%11X \n",cab);
		    	//myprintf("Status %d \n",status);
			    uint8_t cabecera[4] = {cab[0],cab[1],cab[2],cab[3]};
			    uint8_t size_cabecera = sizeof(cabecera)/sizeof(cabecera[0]);

			    bool status_crc16= gener_crc16(cabecera,size_cabecera,cab);
			    //********************** Verificacion CRC32
			    uint8_t payload_cabecera[7] = {cab[0],cab[1],cab[2],cab[3],cab[5],cab[4],cab[6]};
			    uint8_t size_payload_cabe = sizeof(payload_cabecera)/sizeof(payload_cabecera[0]);
			    //myprintf("entrando al crc32 x1... \n");
				bool status_crc32 = gener_crc32(payload_cabecera,size_payload_cabe,cab);
				if (status_crc16 == 1 && status_crc32 ==1 ){
					comando =  cab[6];
					a=0;
					break;
				}
				else {
					comando =  0xFF;
					a=0;
					break;
				}
				HAL_Delay(100);

				break;

		    }else{
		    	//status=0;
		    	//myprintf("Status %d \n",status);
		    	myprintf("Comando no recibido\n");
		    	comando = 0xFF;
		    }
		}
		return comando;
}

void comando_recibido(uint8_t cab6){
  switch(cab6){
   case 0x01:
	//payload_total[0]=0x01; /*TomaFotoSD*/
	   myprintf("Comando toma foto recibido\n");
	   envia_defrente();

	   enviar_comando(0X01);
	   break;
   case 0x02:
	//payload_total[0]=0x02; /*EnvíoFotoPaySTM32*/
	   myprintf("Comando toma enviar foto\n");
	   HAL_Delay(3000);
	   (void)send_file_over_uart(SEND_FILENAME);
	   enviar_comando(0X02);

	   break;
   case 0x03:
	   enviar_comando(0X03);
	   //envia_defrente();
	   break;
   case 0x05:
	   enviar_comando(0X05);
	   break;
   case 0x08:
	   enviar_comando(0X08);
	   break;
   case 0x06:
	//myprintf("\r\n Camara inicializo BIEN \r\n\r\n");
	   break;
   case 0x00:
	   enviar_comando(0X00);
	   break;
   case 0xFF:
	   enviar_comando(0XFF);
	   break;
   default:
	   enviar_comando(0XFF);

  }

}

void enviar_comando(uint8_t indicador){

	//PPID=indicador; // halla el PPID del frame recibido

	//payload_total[0] = comando_enviado(PPID); //Halla el payload_total con respecto al PPID

	PPID=indicador;
    // TODO: por ahiora etsa binem pero deben cambiar por el tema del payload
	payload_total[0] = indicador;

	for (int i=0; i<255; i++){
	  val = payload_total[i] & 0b11111111;
	  if (val != 0x00){
		  count=count+1;
	  }
	}

	//payload_envio[0] = payload_total[0];

    //PS = countPay(payload_envio);
	//PS = count;
	payload_envio[0] = payload_total[0];
	PS = 0X01;

    /******************************
    * Hallando el CRC16 y CRC32
    ******************************/
    uint16_t CRC16 = gener_crc16_rx(TA,SA,PPID,PS);

    uint8_t CRC16_0 = (uint8_t)(CRC16 & 0x00FF);
    uint8_t CRC16_1 = (uint8_t)((CRC16 >> 8)& 0x00FF);

    uint32_t CRC32 = gener_crc32_rx(TA,SA,PPID,PS,CRC16_1,CRC16_0,payload_envio[0]);

    uint8_t CRC32_byte3 = (uint8_t)((CRC32 >> 24) & 0xFF);//MSB
    uint8_t CRC32_byte2 = (uint8_t)((CRC32 >> 16) & 0xFF);
    uint8_t CRC32_byte1 = (uint8_t)((CRC32 >> 8) & 0xFF);
    uint8_t CRC32_byte0 = (uint8_t)(CRC32 & 0xFF);//LSB

    uint8_t resp[] = {TA,SA,PPID,PS,CRC16_0,CRC16_1,payload_envio[0],CRC32_byte0,CRC32_byte1,CRC32_byte2,CRC32_byte3};

    myprintf("%02X %02X %02X %02X \n",resp[0],resp[1],resp[2],resp[3]);
    myprintf("%02X %02X %02X %02X \n",resp[4],resp[5],resp[6],resp[7]);
    myprintf("%02X %02X %02X  \n",resp[8],resp[9],resp[10]);

    HAL_Delay(500);
	//myprintf("Enviando comando ... \n");
	//HAL_UART_Transmit(&huart4,resp,11,2500);
	//myprintf("%X \n",resp);
	//uint8_t cab[] = {CRC32_byte3,CRC32_byte2,CRC32_byte1,CRC32_byte0};
    myprintf("\r\n ENVIANDO \r\n\r\n");
	HAL_StatusTypeDef status_rec = HAL_UART_Transmit(&LINK_UART_HANDLE,resp,11,2500);// Sending in normal mode
	myprintf("\r\n ENVIADO \r\n\r\n");
	HAL_Delay(500);
	count = 0;

	//myprintf("\r\n  \r\n\r\n");
	//HAL_UART_Transmit(&huart4,payload_total[0],1,2500);
	//myprintf("\r\n %d \r\n\r\n",payload_envio[0]);
	//myprintf("\r\n %d \r\n\r\n",sizeof(payload_envio)/sizeof(payload_envio[0]));

}

void comando_enviado(uint8_t PPID){
	 /**********************************
	   Definicion payload de respuesta
	   Comando de foto en camara 1: 0x01
	  **********************************/
	  //uint8_t payload_total[255];
	  uint8_t val_pay;

	  switch(PPID){
	   case 0x01:
		val_pay=0x02; /*Rpta TomaFotoSD*/
	  	break;
	   case 0x02:
		val_pay=0x04; /*Rpta EnvíoFotoPaySTM32*/
	    break;
	   case 0x03:
		val_pay=0x06; /*Rpta TomaFotoALmacYenviaPayload*/
	    break;
	   default:
		val_pay=0xFF;
	  }

	  //return payload_total;
	  return val_pay;
}

/* USER CODE END PV */

void SystemClock_Config(void);
static void MX_GPIO_Init(void);
static void MX_USART3_UART_Init(void);
static void MX_USB_OTG_FS_PCD_Init(void);
static void MX_SPI1_Init(void);
static void MX_UART4_Init(void);
static void MX_UART5_Init(void);
static void MX_USART2_UART_Init(void);

int main(void)
{

  /* MCU Configuration--------------------------------------------------------*/

  /* Reset of all peripherals, Initializes the Flash interface and the Systick. */
  HAL_Init();

  /* Configure the system clock */
  SystemClock_Config();

  /* Initialize all configured peripherals */
  MX_GPIO_Init();
  MX_USART3_UART_Init();
  MX_USB_OTG_FS_PCD_Init();
  MX_SPI1_Init();
  MX_UART4_Init();
  MX_UART5_Init();
  MX_USART2_UART_Init();
  MX_FATFS_Init();
  /* USER CODE BEGIN 2 */

  //myprintf("\r\n~ SD card demo by kiwih ~\r\n\r\n");

  HAL_Delay(2000); //a short delay is important to let the SD card settle

  //some variables for FatFs
  FATFS FatFs; 	//Fatfs handle
  FIL fil; 		//File handle
  FRESULT fres; //Result after operations

  //Open the file system
  /*
  fres = f_mount(&FatFs, "", 1); //1=mount now
  if (fres == FR_OK) {
	  myprintf("\r\n ta bien  \r\n\r\n");

  }
  else {
	  myprintf("\r\n MICRO SD MAL  \r\n\r\n");
  }
  */

  //Let's get some statistics from the SD card

  /*
  DWORD free_clusters, free_sectors, total_sectors;

  FATFS* getFreeFs;

  fres = f_getfree("", &free_clusters, &getFreeFs);
  if (fres != FR_OK) {
	myprintf("f_getfree error (%i)\r\n", fres);
	while(1);
  }

  //Formula comes from ChaN's documentation
  total_sectors = (getFreeFs->n_fatent - 2) * getFreeFs->csize;
  free_sectors = free_clusters * getFreeFs->csize;

  myprintf("SD card stats:\r\n%10lu KiB total drive space.\r\n%10lu KiB available.\r\n", total_sectors / 2, free_sectors / 2);
  HAL_Delay(1000);

  */

  /*
  int rc = camera_init();
  HAL_Delay(1000);
  if (rc == 0) {
	  myprintf("\r\n CAMARA BIEN  \r\n\r\n");
      //myprintf("camera_init failed (%d)\r\n", rc);
      // opcional: parpadear LED o quedarse en loop de error
      // while (1) { HAL_Delay(250); }
	  // envio camara ok
  } else {
      //myprintf("camera ok\r\n");
	  // envio camara mal
  }
  */

  //uint8_t cab[]={};
  int estado = 0;
  int inicia = 0;
  int inicia2 = 0;
  int inicia3= 0;
  int bandera = 1;
  uint8_t comando = 0x00;

  /* USER CODE END 2 */

  /* Infinite loop */
  while (1)
  {

    /* USER CODE BEGIN 3 */
	  /*
	  while (estado ==1){
		  uint8_t comando = recibir_comando();
		  HAL_Delay(100);
		  uart_flush_rx_polling(&LINK_UART_HANDLE);
		  comando_recibido(comando);

	  }
	  while (estado ==2){
		  fres = f_mount(&FatFs, "", 1); //1=mount now
		  if (fres == FR_OK) {
			  inicia = 3;

		  }

		  int rc = camera_init();
		  HAL_Delay(1000);
		  if (rc == 0) {
			  inicia2 = 5;
		  }
		  inicia3 =  inicia + inicia2;

		  if (inicia3 == 8){
			  comando_recibido(0x08);
		  }
		  else if(inicia3 == 3){
			  comando_recibido(0x03);
		  }
		  else if(inicia3 == 5){
			  comando_recibido(0x05);
		  }
		  else{
			  comando_recibido(0x00);
		  }
		  estado = 1;
		  break;
	  }
	  */

	  while (estado == 0){
		  //HAL_GPIO_TogglePin(WDG_GPIO_Port, WDG_Pin);
		  comando = recibir_comando();
		  if (comando == 0x01 || comando== 0x02 ){
			  estado = 1;
			  break;
		  }
		  else if (comando == 0x08){
			  estado = 2;
			  break;
		  }

	  }

	  while (estado == 1){
		  //myprintf("Estado 1\n");
		  //HAL_GPIO_TogglePin(WDG_GPIO_Port, WDG_Pin);

		  //uint8_t comando = recibir_comando();
		  HAL_Delay(100);
		  uart_flush_rx_polling(&LINK_UART_HANDLE);
		  comando_recibido(comando);
		  estado = 0;
		  comando = 0x00;
		  break;

	  }
	  while (estado == 2){
		  //HAL_GPIO_WritePin(LED_TEST_GPIO_Port, LED_TEST_Pin,                   GPIO_PIN_SET);
		 //HAL_GPIO_TogglePin(WDG_GPIO_Port, WDG_Pin);
		  while(bandera == 1){

			  fres = f_mount(&FatFs, "", 1); //1=mount now
			  HAL_Delay(1000);
			  //HAL_GPIO_TogglePin(LED_TEST_GPIO_Port, LED_TEST_Pin);
			  //HAL_GPIO_TogglePin(WDG_GPIO_Port, WDG_Pin);

			  if (fres == FR_OK) {
				  inicia = 3;
				  bandera = 0;
				  break;
			  }
			  else {
				  inicia = 0;
				  myprintf("SD MALA\n");
			  }
		  }

		  //HAL_GPIO_TogglePin(WDG_GPIO_Port, WDG_Pin);
		  int rc = camera_init();
		  HAL_Delay(1000);
		  if (rc == 0) {
			  inicia2 = 5;
		  }
		  else {
			  inicia2 = 0;
		  }
		  //HAL_GPIO_TogglePin(WDG_GPIO_Port, WDG_Pin);
		  //enviar_comando(fres);
		  //comando_recibido(fres);

		  inicia3 =  inicia + inicia2;

		  if (inicia3 == 8){
			  comando_recibido(0x08);
			  inicia3 = 0;
			  comando = 0x00;
			  myprintf("TODO GOOD\n");
		  }
		  else if(inicia3 == 3){
			  comando_recibido(0x03);
			  inicia3 = 0;
			  comando = 0x00;
		  }
		  else if(inicia3 == 5){
			  comando_recibido(0x05);
			  inicia3 = 0;
			  comando = 0x00;
		  }
		  else{
			  comando_recibido(0x00);
			  inicia3 = 0;
			  comando = 0x00;
		  }

		  estado = 0;
		  break;
	  }

  }
  /* USER CODE END 3 */
}

void SystemClock_Config(void)
{
  RCC_OscInitTypeDef RCC_OscInitStruct = {0};
  RCC_ClkInitTypeDef RCC_ClkInitStruct = {0};

  /** Configure the main internal regulator output voltage
  */
  __HAL_RCC_PWR_CLK_ENABLE();
  __HAL_PWR_VOLTAGESCALING_CONFIG(PWR_REGULATOR_VOLTAGE_SCALE3);

  /** Initializes the RCC Oscillators according to the specified parameters
  * in the RCC_OscInitTypeDef structure.
  */
  RCC_OscInitStruct.OscillatorType = RCC_OSCILLATORTYPE_HSE;
  RCC_OscInitStruct.HSEState = RCC_HSE_BYPASS;
  RCC_OscInitStruct.PLL.PLLState = RCC_PLL_ON;
  RCC_OscInitStruct.PLL.PLLSource = RCC_PLLSOURCE_HSE;
  RCC_OscInitStruct.PLL.PLLM = 4;
  RCC_OscInitStruct.PLL.PLLN = 120;
  RCC_OscInitStruct.PLL.PLLP = RCC_PLLP_DIV6;
  RCC_OscInitStruct.PLL.PLLQ = 5;
  RCC_OscInitStruct.PLL.PLLR = 2;
  if (HAL_RCC_OscConfig(&RCC_OscInitStruct) != HAL_OK)
  {
    Error_Handler();
  }

  /** Initializes the CPU, AHB and APB buses clocks
  */
  RCC_ClkInitStruct.ClockType = RCC_CLOCKTYPE_HCLK|RCC_CLOCKTYPE_SYSCLK
                              |RCC_CLOCKTYPE_PCLK1|RCC_CLOCKTYPE_PCLK2;
  RCC_ClkInitStruct.SYSCLKSource = RCC_SYSCLKSOURCE_PLLCLK;
  RCC_ClkInitStruct.AHBCLKDivider = RCC_SYSCLK_DIV1;
  RCC_ClkInitStruct.APB1CLKDivider = RCC_HCLK_DIV1;
  RCC_ClkInitStruct.APB2CLKDivider = RCC_HCLK_DIV1;

  if (HAL_RCC_ClockConfig(&RCC_ClkInitStruct, FLASH_LATENCY_1) != HAL_OK)
  {
    Error_Handler();
  }
}

static void MX_SPI1_Init(void)
{

  /* SPI1 parameter configuration*/
  hspi1.Instance = SPI1;
  hspi1.Init.Mode = SPI_MODE_MASTER;
  hspi1.Init.Direction = SPI_DIRECTION_2LINES;
  hspi1.Init.DataSize = SPI_DATASIZE_8BIT;
  hspi1.Init.CLKPolarity = SPI_POLARITY_LOW;
  hspi1.Init.CLKPhase = SPI_PHASE_1EDGE;
  hspi1.Init.NSS = SPI_NSS_SOFT;
  hspi1.Init.BaudRatePrescaler = SPI_BAUDRATEPRESCALER_256;
  hspi1.Init.FirstBit = SPI_FIRSTBIT_MSB;
  hspi1.Init.TIMode = SPI_TIMODE_DISABLE;
  hspi1.Init.CRCCalculation = SPI_CRCCALCULATION_DISABLE;
  hspi1.Init.CRCPolynomial = 10;
  if (HAL_SPI_Init(&hspi1) != HAL_OK)
  {
    Error_Handler();
  }

}

static void MX_UART4_Init(void)
{

  huart4.Instance = UART4;
  huart4.Init.BaudRate = 9600;
  huart4.Init.WordLength = UART_WORDLENGTH_8B;
  huart4.Init.StopBits = UART_STOPBITS_1;
  huart4.Init.Parity = UART_PARITY_NONE;
  huart4.Init.Mode = UART_MODE_TX_RX;
  huart4.Init.HwFlowCtl = UART_HWCONTROL_NONE;
  huart4.Init.OverSampling = UART_OVERSAMPLING_16;
  if (HAL_UART_Init(&huart4) != HAL_OK)
  {
    Error_Handler();
  }

}

static void MX_UART5_Init(void)
{

  huart5.Instance = UART5;
  huart5.Init.BaudRate = 9600;
  huart5.Init.WordLength = UART_WORDLENGTH_8B;
  huart5.Init.StopBits = UART_STOPBITS_1;
  huart5.Init.Parity = UART_PARITY_NONE;
  huart5.Init.Mode = UART_MODE_TX_RX;
  huart5.Init.HwFlowCtl = UART_HWCONTROL_NONE;
  huart5.Init.OverSampling = UART_OVERSAMPLING_16;
  if (HAL_UART_Init(&huart5) != HAL_OK)
  {
    Error_Handler();
  }

}

static void MX_USART2_UART_Init(void)
{

  huart2.Instance = USART2;
  huart2.Init.BaudRate = 38400;
  huart2.Init.WordLength = UART_WORDLENGTH_8B;
  huart2.Init.StopBits = UART_STOPBITS_1;
  huart2.Init.Parity = UART_PARITY_NONE;
  huart2.Init.Mode = UART_MODE_TX_RX;
  huart2.Init.HwFlowCtl = UART_HWCONTROL_NONE;
  huart2.Init.OverSampling = UART_OVERSAMPLING_16;
  if (HAL_UART_Init(&huart2) != HAL_OK)
  {
    Error_Handler();
  }

}

static void MX_USART3_UART_Init(void)
{

  huart3.Instance = USART3;
  huart3.Init.BaudRate = 115200;
  huart3.Init.WordLength = UART_WORDLENGTH_8B;
  huart3.Init.StopBits = UART_STOPBITS_1;
  huart3.Init.Parity = UART_PARITY_NONE;
  huart3.Init.Mode = UART_MODE_TX_RX;
  huart3.Init.HwFlowCtl = UART_HWCONTROL_NONE;
  huart3.Init.OverSampling = UART_OVERSAMPLING_16;
  if (HAL_UART_Init(&huart3) != HAL_OK)
  {
    Error_Handler();
  }

}

static void MX_USB_OTG_FS_PCD_Init(void)
{

  hpcd_USB_OTG_FS.Instance = USB_OTG_FS;
  hpcd_USB_OTG_FS.Init.dev_endpoints = 6;
  hpcd_USB_OTG_FS.Init.speed = PCD_SPEED_FULL;
  hpcd_USB_OTG_FS.Init.dma_enable = DISABLE;
  hpcd_USB_OTG_FS.Init.phy_itface = PCD_PHY_EMBEDDED;
  hpcd_USB_OTG_FS.Init.Sof_enable = ENABLE;
  hpcd_USB_OTG_FS.Init.low_power_enable = DISABLE;
  hpcd_USB_OTG_FS.Init.lpm_enable = DISABLE;
  hpcd_USB_OTG_FS.Init.vbus_sensing_enable = ENABLE;
  hpcd_USB_OTG_FS.Init.use_dedicated_ep1 = DISABLE;
  if (HAL_PCD_Init(&hpcd_USB_OTG_FS) != HAL_OK)
  {
    Error_Handler();
  }

}

static void MX_GPIO_Init(void)
{
  GPIO_InitTypeDef GPIO_InitStruct = {0};

  /* GPIO Ports Clock Enable */
  __HAL_RCC_GPIOC_CLK_ENABLE();
  __HAL_RCC_GPIOH_CLK_ENABLE();
  __HAL_RCC_GPIOA_CLK_ENABLE();
  __HAL_RCC_GPIOB_CLK_ENABLE();
  __HAL_RCC_GPIOE_CLK_ENABLE();
  __HAL_RCC_GPIOD_CLK_ENABLE();
  __HAL_RCC_GPIOG_CLK_ENABLE();

  /*Configure GPIO pin Output Level */
  HAL_GPIO_WritePin(GPIOB, LD1_Pin|LD3_Pin|LD2_Pin, GPIO_PIN_RESET);

  /*Configure GPIO pin Output Level */
  HAL_GPIO_WritePin(USB_PowerSwitchOn_GPIO_Port, USB_PowerSwitchOn_Pin, GPIO_PIN_RESET);

  /*Configure GPIO pin Output Level */
  HAL_GPIO_WritePin(SPI1_CS_GPIO_Port, SPI1_CS_Pin, GPIO_PIN_RESET);

  /*Configure GPIO pin : USER_Btn_Pin */
  GPIO_InitStruct.Pin = USER_Btn_Pin;
  GPIO_InitStruct.Mode = GPIO_MODE_IT_RISING;
  GPIO_InitStruct.Pull = GPIO_NOPULL;
  HAL_GPIO_Init(USER_Btn_GPIO_Port, &GPIO_InitStruct);

  /*Configure GPIO pins : LD1_Pin LD3_Pin LD2_Pin */
  GPIO_InitStruct.Pin = LD1_Pin|LD3_Pin|LD2_Pin;
  GPIO_InitStruct.Mode = GPIO_MODE_OUTPUT_PP;
  GPIO_InitStruct.Pull = GPIO_NOPULL;
  GPIO_InitStruct.Speed = GPIO_SPEED_FREQ_LOW;
  HAL_GPIO_Init(GPIOB, &GPIO_InitStruct);

  /*Configure GPIO pin : USB_PowerSwitchOn_Pin */
  GPIO_InitStruct.Pin = USB_PowerSwitchOn_Pin;
  GPIO_InitStruct.Mode = GPIO_MODE_OUTPUT_PP;
  GPIO_InitStruct.Pull = GPIO_NOPULL;
  GPIO_InitStruct.Speed = GPIO_SPEED_FREQ_LOW;
  HAL_GPIO_Init(USB_PowerSwitchOn_GPIO_Port, &GPIO_InitStruct);

  /*Configure GPIO pin : USB_OverCurrent_Pin */
  GPIO_InitStruct.Pin = USB_OverCurrent_Pin;
  GPIO_InitStruct.Mode = GPIO_MODE_INPUT;
  GPIO_InitStruct.Pull = GPIO_NOPULL;
  HAL_GPIO_Init(USB_OverCurrent_GPIO_Port, &GPIO_InitStruct);

  /*Configure GPIO pin : SPI1_CS_Pin */
  GPIO_InitStruct.Pin = SPI1_CS_Pin;
  GPIO_InitStruct.Mode = GPIO_MODE_OUTPUT_PP;
  GPIO_InitStruct.Pull = GPIO_NOPULL;
  GPIO_InitStruct.Speed = GPIO_SPEED_FREQ_LOW;
  HAL_GPIO_Init(SPI1_CS_GPIO_Port, &GPIO_InitStruct);

}

void Error_Handler(void)
{
  __disable_irq();
  while (1)
  {
  }
}
